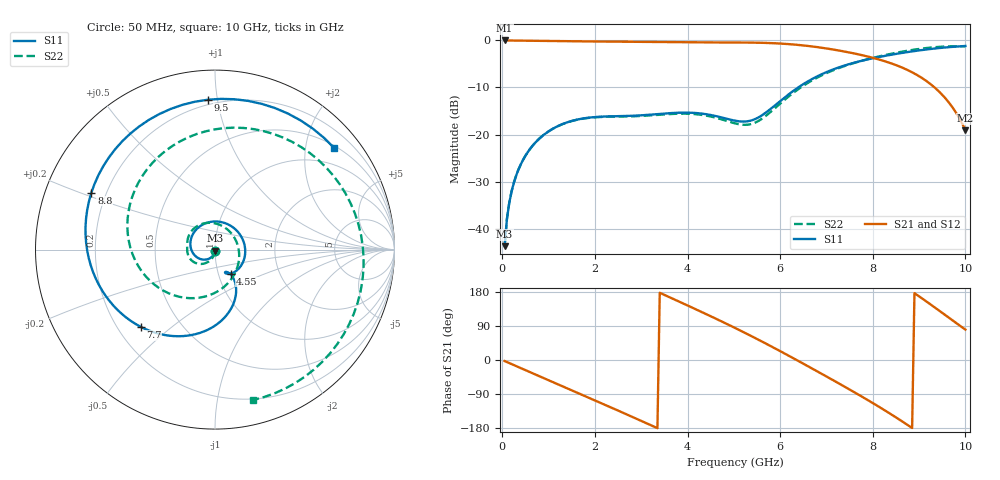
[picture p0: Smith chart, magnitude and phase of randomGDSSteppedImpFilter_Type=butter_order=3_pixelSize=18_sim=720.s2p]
! freq	dB(S11)	phase(S11)	dB(S12)	phase(S12)
!  dB(S21)	phase(S21)	dB(S22)	phase(S22)
!S-par simulation data
#  GHz  S  DB  R 50
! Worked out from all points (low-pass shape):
!   200 points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, 50 MHz to 10 GHz, reference 50 ohm
!   highest |S21| = -0.01 dB at 50 MHz (marker M1); lowest = -19.1 dB at 10 GHz (marker M2)
!   |S21| within 3 dB of the highest: start of sweep to 7.711 GHz
!   lowest |S11| = -43.7 dB at 50 MHz (marker M3), VSWR 1.01, Z = 50 - j0.651 ohm
!   |S11| at or under -10 dB: start of sweep to 6.39 GHz
!   |S22| runs from -43.7 to -1.2 dB; largest |S21 - S12| = 0
!   S11 on the Smith chart (normalised r, x): 50 MHz: 1.00, -0.01; 4.55 GHz: 1.14, -0.31; 7.7 GHz: 0.29, -0.39; 8.8 GHz: 0.14, +0.21; 9.5 GHz: 0.17, +0.94; 10 GHz: 0.55, +2.62
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0.05  -43.73 -88.5  -0.01 -2.7  -0.01 -2.7  -43.71 -87.4
0.1  -37.98 -94.2  -0.01 -5.4  -0.01 -5.4  -37.96 -92.0
0.2  -32.12 -102.4  -0.02 -10.8  -0.02 -10.8  -32.10 -98.0
0.5  -24.51 -122.8  -0.05 -26.8  -0.05 -26.8  -24.50 -111.7
1.15  -18.45 -166.2  -0.14 -61.4  -0.14 -61.4  -18.46 -138.3
1.75  -16.58 151.1  -0.21 -93.3  -0.21 -93.3  -16.62 -159.5
2.65  -16.07 77.9  -0.28 -141.6  -0.28 -141.6  -16.17 177.4
3.4  -15.62 13.9  -0.35 177.4  -0.35 177.4  -15.79 160.0
3.95  -15.35 -25.9  -0.40 146.8  -0.40 146.8  -15.57 139.4
4.55  -15.95 -57.0  -0.43 112.6  -0.43 112.6  -16.28 103.2
5.05  -17.10 -66.5  -0.44 83.2  -0.44 83.2  -17.69 54.1
5.5  -16.53 -59.7  -0.48 55.5  -0.48 55.5  -17.29 -10.0
5.95  -13.30 -58.7  -0.64 26.7  -0.64 26.7  -13.86 -70.3
6.3  -10.62 -67.6  -0.88 3.7  -0.88 3.7  -11.02 -107.8
6.7  -8.15 -83.7  -1.30 -23.1  -1.30 -23.1  -8.44 -145.6
7.25  -5.79 -110.2  -2.11 -60.6  -2.11 -60.6  -5.94 165.4
7.7  -4.48 -134.0  -2.99 -92.0  -2.99 -92.0  -4.50 125.7
8.35  -3.13 -172.7  -4.72 -139.7  -4.72 -139.7  -2.93 67.8
8.8  -2.40 155.3  -6.52 -175.4  -6.52 -175.4  -2.11 27.7
9.15  -1.93 126.0  -8.57 155.2  -8.57 155.2  -1.63 -3.1
9.5  -1.56 92.8  -11.56 124.3  -11.56 124.3  -1.33 -33.5
10  -1.18 40.4  -19.09 80.3  -19.09 80.3  -1.27 -75.8
